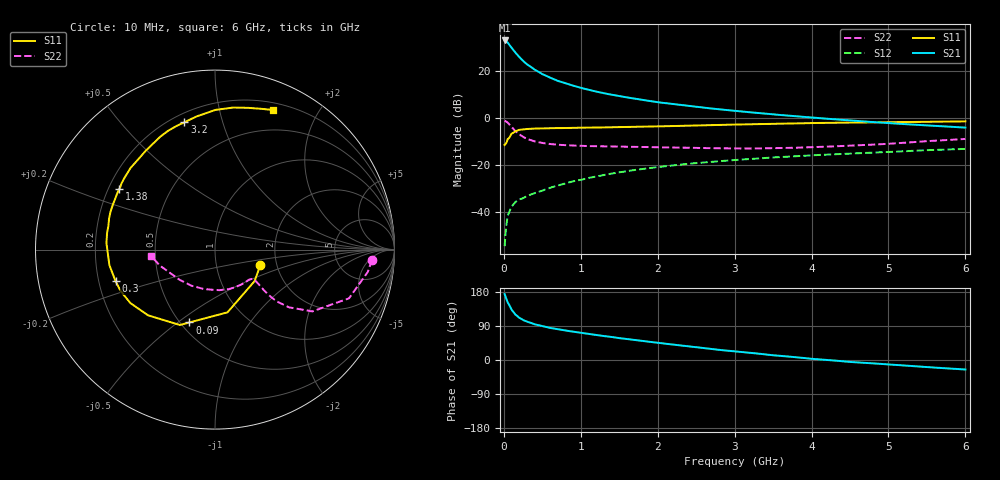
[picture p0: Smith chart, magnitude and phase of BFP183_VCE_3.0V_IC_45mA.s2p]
! Infineon Technologies  Discrete & RF Semiconductors
! BFP183
! VCE = 3.0 V,  IC =  45 mA
! Common Emitter S-Parameters:  Jan 2016
# GHz  S  MA  R  50
!  f  S11  S21  S12  S22
! GHz  MAG  ANG  MAG  ANG  MAG  ANG  MAG  ANG
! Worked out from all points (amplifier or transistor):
!   210 points, 10 MHz to 6 GHz, reference 50 ohm
!   highest |S21| = 32.8 dB at 10 MHz (marker M1)
!   |S21| within 3 dB of that: start of sweep to 98.77 MHz
!   unconditionally stable (mu >= 1): start of sweep to 16.15 MHz; 378 MHz to end of sweep
!   at 185 MHz: K = 0.66, MSG = 30.6 dB, |S12| = -34.9 dB
!   at 1.52 GHz: K = 1.32, MAG = 12.6 dB, |S12| = -23.0 dB
!   at 6 GHz: K = 1.04, MAG = 3.2 dB, |S12| = -13.2 dB
!   S11 on the Smith chart (normalised r, x): 10 MHz: 1.64, -0.31; 90 MHz: 0.55, -0.55; 300 MHz: 0.27, -0.14; 1.38 GHz: 0.24, +0.27; 3.2 GHz: 0.25, +0.76; 6 GHz: 0.27, +1.47
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0.01  0.267 -19.3  43.89 174.0  0.0019 75.1  0.8757 -3.8
0.02  0.2818 -38.3  43.48 168.4  0.0031 78.4  0.8604 -8.3
0.05  0.3564 -78.7  39.69 151.9  0.0084 70.5  0.7943 -20.0
0.09  0.4302 -109.4  32.31 137.0  0.0121 57.6  0.6701 -29.5
0.1  0.4634 -115.0  30.91 132.3  0.0131 55.5  0.6426 -32.4
0.15  0.5226 -135.5  24.21 119.7  0.0164 52.3  0.5245 -37.9
0.2  0.5577 -147.7  19.51 111.4  0.0187 51.8  0.4474 -40.0
0.26  0.5752 -157.6  15.65 104.6  0.0202 51.1  0.3886 -40.2
0.3  0.5812 -162.5  13.73 101.1  0.022 51.3  0.3593 -39.8
0.4  0.5947 -171.6  10.57 94.2  0.0253 54.5  0.3169 -38.6
0.5  0.5981 -178.2  8.489 89.2  0.0286 56.2  0.2933 -37.9
0.6  0.6057 176.7  7.157 84.8  0.033 57.6  0.2789 -37.5
0.7  0.6083 171.6  6.112 81.1  0.0367 59.0  0.2694 -37.7
0.8  0.6085 167.5  5.403 77.7  0.0405 59.9  0.2635 -38.3
1.02  0.6195 159.4  4.253 71.0  0.0494 60.6  0.2546 -40.7
1.38  0.6303 147.8  3.148 61.3  0.0649 59.5  0.2478 -46.6
2.02  0.6609 130.0  2.131 44.9  0.0911 54.9  0.2389 -60.6
3.1  0.7251 105.4  1.363 20.9  0.1309 44.6  0.2243 -92.5
3.2  0.7299 103.5  1.316 19.0  0.1343 43.6  0.2242 -95.9
4.1  0.781 88.5  0.989 1.7  0.1636 34.8  0.2421 -126.3
5.1  0.8134 75.9  0.757 -13.1  0.1922 26.4  0.2888 -155.1
6  0.8424 67.3  0.622 -25.1  0.2196 17.4  0.3576 -174.5
